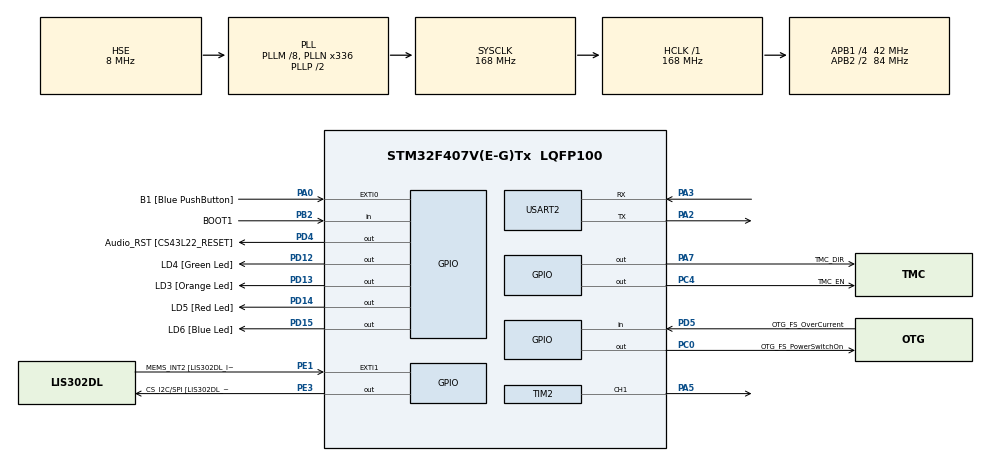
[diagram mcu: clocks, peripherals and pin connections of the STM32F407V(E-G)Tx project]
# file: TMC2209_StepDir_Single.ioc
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Mcu.Family=STM32F4
Mcu.Name=STM32F407V(E-G)Tx
Mcu.Package=LQFP100
NVIC.PriorityGroup=NVIC_PRIORITYGROUP_0
NVIC.TIM2_IRQn=true\:0\:0\:false\:false\:true\:true\:true\:true
NVIC.USART2_IRQn=true\:0\:0\:false\:false\:true\:true\:true\:true
PA0-WKUP.GPIO_Label=B1 [Blue PushButton]
PA0-WKUP.GPIO_ModeDefaultEXTI=GPIO_MODE_EVT_RISING
PA0-WKUP.GPIO_PuPd=GPIO_NOPULL
PA0-WKUP.Signal=GPXTI0
PA13.GPIO_Label=SWDIO
PA13.Mode=Serial_Wire
PA13.Signal=SYS_JTMS-SWDIO
PA14.GPIO_Label=SWCLK
PA14.Mode=Serial_Wire
PA14.Signal=SYS_JTCK-SWCLK
PA2.Mode=Asynchronous
PA2.Signal=USART2_TX
PA3.Mode=Asynchronous
PA3.Signal=USART2_RX
PA5.Signal=S_TIM2_CH1_ETR
PA7.GPIO_Label=TMC_DIR
PA7.Signal=GPIO_Output
PB10.Signal=S_TIM2_CH3
PB11.Signal=S_TIM2_CH4
PB2.GPIO_Label=BOOT1
PB2.GPIO_Mode=GPIO_MODE_INPUT
PB2.GPIO_PuPd=GPIO_NOPULL
PB2.Signal=GPIO_Input
PB3.Signal=S_TIM2_CH2
PC0.GPIO_Label=OTG_FS_PowerSwitchOn
PC0.GPIO_PuPd=GPIO_NOPULL
PC0.GPIO_Speed=GPIO_SPEED_FREQ_LOW
PC0.PinState=GPIO_PIN_SET
PC0.Signal=GPIO_Output
PC4.GPIO_Label=TMC_EN
PC4.Signal=GPIO_Output
PD12.GPIO_Label=LD4 [Green Led]
PD12.GPIO_PuPd=GPIO_NOPULL
PD12.GPIO_Speed=GPIO_SPEED_FREQ_LOW
PD12.Signal=GPIO_Output
PD13.GPIO_Label=LD3 [Orange Led]
PD13.GPIO_PuPd=GPIO_NOPULL
PD13.GPIO_Speed=GPIO_SPEED_FREQ_LOW
PD13.Signal=GPIO_Output
PD14.GPIO_Label=LD5 [Red Led]
PD14.GPIO_PuPd=GPIO_NOPULL
PD14.GPIO_Speed=GPIO_SPEED_FREQ_LOW
PD14.Signal=GPIO_Output
PD15.GPIO_Label=LD6 [Blue Led]
PD15.GPIO_PuPd=GPIO_NOPULL
PD15.GPIO_Speed=GPIO_SPEED_FREQ_LOW
PD15.Signal=GPIO_Output
PD4.GPIO_Label=Audio_RST [CS43L22_RESET]
PD4.GPIO_PuPd=GPIO_NOPULL
PD4.GPIO_Speed=GPIO_SPEED_FREQ_LOW
PD4.Signal=GPIO_Output
PD5.GPIO_Label=OTG_FS_OverCurrent
PD5.GPIO_Mode=GPIO_MODE_INPUT
PD5.GPIO_PuPd=GPIO_NOPULL
PD5.Signal=GPIO_Input
PE1.GPIO_Label=MEMS_INT2 [LIS302DL_INT2]
PE1.GPIO_ModeDefaultEXTI=GPIO_MODE_EVT_RISING
PE1.GPIO_PuPd=GPIO_NOPULL
PE1.Signal=GPXTI1
PE3.GPIO_Label=CS_I2C/SPI [LIS302DL_CS_I2C/SPI]
PE3.GPIO_PuPd=GPIO_NOPULL
PE3.GPIO_Speed=GPIO_SPEED_FREQ_LOW
PE3.Signal=GPIO_Output
PH0-OSC_IN.GPIO_Label=PH0-OSC_IN
PH0-OSC_IN.Mode=HSE-External-Oscillator
PH0-OSC_IN.Signal=RCC_OSC_IN
PH1-OSC_OUT.GPIO_Label=PH1-OSC_OUT
PH1-OSC_OUT.Mode=HSE-External-Oscillator
PH1-OSC_OUT.Signal=RCC_OSC_OUT
ProjectManager.HeapSize=0x200
ProjectManager.StackSize=0x400
ProjectManager.TargetToolchain=STM32CubeIDE
RCC.48MHZClocksFreq_Value=48000000
RCC.AHBFreq_Value=168000000
RCC.APB1CLKDivider=RCC_HCLK_DIV4
RCC.APB1Freq_Value=42000000
RCC.APB1TimFreq_Value=84000000
RCC.APB2CLKDivider=RCC_HCLK_DIV2
RCC.APB2Freq_Value=84000000
RCC.APB2TimFreq_Value=168000000
RCC.CortexFreq_Value=168000000
RCC.HCLKFreq_Value=168000000
RCC.HSE_VALUE=8000000
RCC.HSI_VALUE=16000000
RCC.LSE_VALUE=32768
RCC.PLLM=8
RCC.PLLN=336
RCC.PLLQ=7
RCC.PLLSourceVirtual=RCC_PLLSOURCE_HSE
RCC.SYSCLKFreq_VALUE=168000000
RCC.SYSCLKSource=RCC_SYSCLKSOURCE_PLLCLK
RCC.VCOOutputFreq_Value=336000000
SH.S_TIM2_CH1_ETR.0=TIM2_CH1,Output Compare1 CH1
SH.S_TIM2_CH2.0=TIM2_CH2
SH.S_TIM2_CH3.0=TIM2_CH3
SH.S_TIM2_CH4.0=TIM2_CH4
TIM2.Channel-Output\ Compare1\ CH1=TIM_CHANNEL_1
TIM2.OCMode_1=TIM_OCMODE_TOGGLE
USART2.VirtualMode=VM_ASYNC
board=STM32F407G-DISC1

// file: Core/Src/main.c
/* USER CODE BEGIN Header */
/**
  ******************************************************************************
  * @file           : main.c
  * @brief          : Main program body
  ******************************************************************************
  * @attention
  *
  * Copyright (c) 2025 STMicroelectronics.
  * All rights reserved.
  *
  * This software is licensed under terms that can be found in the LICENSE file
  * in the root directory of this software component.
  * If no LICENSE file comes with this software, it is provided AS-IS.
  *
  ******************************************************************************
  */
/* USER CODE END Header */
#include "main.h"

/* USER CODE BEGIN Includes */
#include "tmc2209.h"

/* USER CODE END Includes */

TIM_HandleTypeDef htim2;

UART_HandleTypeDef huart2;

/* USER CODE BEGIN PV */
TMC2209_HandleTypeDef htmc1 = {0};

/* USER CODE END PV */

void SystemClock_Config(void);
static void MX_GPIO_Init(void);
static void MX_TIM2_Init(void);
static void MX_USART2_UART_Init(void);
/* USER CODE BEGIN PFP */
static void APP_TMC2209_Init(void);

/* USER CODE END PFP */

int main(void)
{

  /* MCU Configuration--------------------------------------------------------*/

  /* Reset of all peripherals, Initializes the Flash interface and the Systick. */
  HAL_Init();

  /* Configure the system clock */
  SystemClock_Config();

  /* Initialize all configured peripherals */
  MX_GPIO_Init();
  MX_TIM2_Init();
  MX_USART2_UART_Init();
  /* USER CODE BEGIN 2 */
  /* Initialize the TMC2209 driver and internal structures */
  APP_TMC2209_Init();

  /* Enable the driver and set the target angular velocity to π/2 rad/s */
  TMC2209_Enable(&htmc1);
  TMC2209_SetAngVel(&htmc1, M_PI_2);

  /* Rotate to π radians (180°) counterclockwise */
  TMC2209_MoveToNormalized(&htmc1, M_PI, DIR_CCW);
  while(htmc1.State == TMC2209_BUSY); // Wait until movement is complete
  HAL_Delay(1000);

  /* Rotate to π/4 radians (45°) following the shortest path */
  TMC2209_MoveToNormalized(&htmc1, M_PI_4, DIR_SHORTEST);
  while(htmc1.State == TMC2209_BUSY); // Wait until movement is complete
  HAL_Delay(1000);

  /* Rotate two full turns clockwise (-2 * 360°) */
  TMC2209_MoveAngle(&htmc1, -M_TWOPI*2);
  while(htmc1.State == TMC2209_BUSY); // Wait until movement is complete
  HAL_Delay(1000);

  /* Move back to 0 radians (0°) following the shortest path */
  TMC2209_MoveToNormalized(&htmc1, 0.0f, DIR_SHORTEST);
  while(htmc1.State == TMC2209_BUSY); // Wait until movement is complete
  HAL_Delay(1000);

  /* Disable the driver */
  TMC2209_Disable(&htmc1);

  /* USER CODE END 2 */

  /* Infinite loop */
  while (1)
  {

  }
}

void SystemClock_Config(void)
{
  RCC_OscInitTypeDef RCC_OscInitStruct = {0};
  RCC_ClkInitTypeDef RCC_ClkInitStruct = {0};

  /** Configure the main internal regulator output voltage
  */
  __HAL_RCC_PWR_CLK_ENABLE();
  __HAL_PWR_VOLTAGESCALING_CONFIG(PWR_REGULATOR_VOLTAGE_SCALE1);

  /** Initializes the RCC Oscillators according to the specified parameters
  * in the RCC_OscInitTypeDef structure.
  */
  RCC_OscInitStruct.OscillatorType = RCC_OSCILLATORTYPE_HSE;
  RCC_OscInitStruct.HSEState = RCC_HSE_ON;
  RCC_OscInitStruct.PLL.PLLState = RCC_PLL_ON;
  RCC_OscInitStruct.PLL.PLLSource = RCC_PLLSOURCE_HSE;
  RCC_OscInitStruct.PLL.PLLM = 8;
  RCC_OscInitStruct.PLL.PLLN = 336;
  RCC_OscInitStruct.PLL.PLLP = RCC_PLLP_DIV2;
  RCC_OscInitStruct.PLL.PLLQ = 7;
  if (HAL_RCC_OscConfig(&RCC_OscInitStruct) != HAL_OK)
  {
    Error_Handler();
  }

  /** Initializes the CPU, AHB and APB buses clocks
  */
  RCC_ClkInitStruct.ClockType = RCC_CLOCKTYPE_HCLK|RCC_CLOCKTYPE_SYSCLK
                              |RCC_CLOCKTYPE_PCLK1|RCC_CLOCKTYPE_PCLK2;
  RCC_ClkInitStruct.SYSCLKSource = RCC_SYSCLKSOURCE_PLLCLK;
  RCC_ClkInitStruct.AHBCLKDivider = RCC_SYSCLK_DIV1;
  RCC_ClkInitStruct.APB1CLKDivider = RCC_HCLK_DIV4;
  RCC_ClkInitStruct.APB2CLKDivider = RCC_HCLK_DIV2;

  if (HAL_RCC_ClockConfig(&RCC_ClkInitStruct, FLASH_LATENCY_5) != HAL_OK)
  {
    Error_Handler();
  }
}

static void MX_TIM2_Init(void)
{

  TIM_MasterConfigTypeDef sMasterConfig = {0};
  TIM_OC_InitTypeDef sConfigOC = {0};

  htim2.Instance = TIM2;
  htim2.Init.Prescaler = 0;
  htim2.Init.CounterMode = TIM_COUNTERMODE_UP;
  htim2.Init.Period = 4294967295;
  htim2.Init.ClockDivision = TIM_CLOCKDIVISION_DIV1;
  htim2.Init.AutoReloadPreload = TIM_AUTORELOAD_PRELOAD_DISABLE;
  if (HAL_TIM_OC_Init(&htim2) != HAL_OK)
  {
    Error_Handler();
  }
  sMasterConfig.MasterOutputTrigger = TIM_TRGO_RESET;
  sMasterConfig.MasterSlaveMode = TIM_MASTERSLAVEMODE_DISABLE;
  if (HAL_TIMEx_MasterConfigSynchronization(&htim2, &sMasterConfig) != HAL_OK)
  {
    Error_Handler();
  }
  sConfigOC.OCMode = TIM_OCMODE_TOGGLE;
  sConfigOC.Pulse = 0;
  sConfigOC.OCPolarity = TIM_OCPOLARITY_HIGH;
  sConfigOC.OCFastMode = TIM_OCFAST_DISABLE;
  if (HAL_TIM_OC_ConfigChannel(&htim2, &sConfigOC, TIM_CHANNEL_1) != HAL_OK)
  {
    Error_Handler();
  }
  HAL_TIM_MspPostInit(&htim2);

}

static void MX_USART2_UART_Init(void)
{

  huart2.Instance = USART2;
  huart2.Init.BaudRate = 115200;
  huart2.Init.WordLength = UART_WORDLENGTH_8B;
  huart2.Init.StopBits = UART_STOPBITS_1;
  huart2.Init.Parity = UART_PARITY_NONE;
  huart2.Init.Mode = UART_MODE_TX_RX;
  huart2.Init.HwFlowCtl = UART_HWCONTROL_NONE;
  huart2.Init.OverSampling = UART_OVERSAMPLING_16;
  if (HAL_UART_Init(&huart2) != HAL_OK)
  {
    Error_Handler();
  }

}

static void MX_GPIO_Init(void)
{
  GPIO_InitTypeDef GPIO_InitStruct = {0};

  /* GPIO Ports Clock Enable */
  __HAL_RCC_GPIOE_CLK_ENABLE();
  __HAL_RCC_GPIOH_CLK_ENABLE();
  __HAL_RCC_GPIOC_CLK_ENABLE();
  __HAL_RCC_GPIOA_CLK_ENABLE();
  __HAL_RCC_GPIOB_CLK_ENABLE();
  __HAL_RCC_GPIOD_CLK_ENABLE();

  /*Configure GPIO pin Output Level */
  HAL_GPIO_WritePin(CS_I2C_SPI_GPIO_Port, CS_I2C_SPI_Pin, GPIO_PIN_RESET);

  /*Configure GPIO pin Output Level */
  HAL_GPIO_WritePin(OTG_FS_PowerSwitchOn_GPIO_Port, OTG_FS_PowerSwitchOn_Pin, GPIO_PIN_SET);

  /*Configure GPIO pin Output Level */
  HAL_GPIO_WritePin(TMC_DIR_GPIO_Port, TMC_DIR_Pin, GPIO_PIN_RESET);

  /*Configure GPIO pin Output Level */
  HAL_GPIO_WritePin(TMC_EN_GPIO_Port, TMC_EN_Pin, GPIO_PIN_RESET);

  /*Configure GPIO pin Output Level */
  HAL_GPIO_WritePin(GPIOD, LD4_Pin|LD3_Pin|LD5_Pin|LD6_Pin
                          |Audio_RST_Pin, GPIO_PIN_RESET);

  /*Configure GPIO pin : CS_I2C_SPI_Pin */
  GPIO_InitStruct.Pin = CS_I2C_SPI_Pin;
  GPIO_InitStruct.Mode = GPIO_MODE_OUTPUT_PP;
  GPIO_InitStruct.Pull = GPIO_NOPULL;
  GPIO_InitStruct.Speed = GPIO_SPEED_FREQ_LOW;
  HAL_GPIO_Init(CS_I2C_SPI_GPIO_Port, &GPIO_InitStruct);

  /*Configure GPIO pins : OTG_FS_PowerSwitchOn_Pin TMC_EN_Pin */
  GPIO_InitStruct.Pin = OTG_FS_PowerSwitchOn_Pin|TMC_EN_Pin;
  GPIO_InitStruct.Mode = GPIO_MODE_OUTPUT_PP;
  GPIO_InitStruct.Pull = GPIO_NOPULL;
  GPIO_InitStruct.Speed = GPIO_SPEED_FREQ_LOW;
  HAL_GPIO_Init(GPIOC, &GPIO_InitStruct);

  /*Configure GPIO pin : B1_Pin */
  GPIO_InitStruct.Pin = B1_Pin;
  GPIO_InitStruct.Mode = GPIO_MODE_EVT_RISING;
  GPIO_InitStruct.Pull = GPIO_NOPULL;
  HAL_GPIO_Init(B1_GPIO_Port, &GPIO_InitStruct);

  /*Configure GPIO pin : TMC_DIR_Pin */
  GPIO_InitStruct.Pin = TMC_DIR_Pin;
  GPIO_InitStruct.Mode = GPIO_MODE_OUTPUT_PP;
  GPIO_InitStruct.Pull = GPIO_NOPULL;
  GPIO_InitStruct.Speed = GPIO_SPEED_FREQ_LOW;
  HAL_GPIO_Init(TMC_DIR_GPIO_Port, &GPIO_InitStruct);

  /*Configure GPIO pin : BOOT1_Pin */
  GPIO_InitStruct.Pin = BOOT1_Pin;
  GPIO_InitStruct.Mode = GPIO_MODE_INPUT;
  GPIO_InitStruct.Pull = GPIO_NOPULL;
  HAL_GPIO_Init(BOOT1_GPIO_Port, &GPIO_InitStruct);

  /*Configure GPIO pins : LD4_Pin LD3_Pin LD5_Pin LD6_Pin
                           Audio_RST_Pin */
  GPIO_InitStruct.Pin = LD4_Pin|LD3_Pin|LD5_Pin|LD6_Pin
                          |Audio_RST_Pin;
  GPIO_InitStruct.Mode = GPIO_MODE_OUTPUT_PP;
  GPIO_InitStruct.Pull = GPIO_NOPULL;
  GPIO_InitStruct.Speed = GPIO_SPEED_FREQ_LOW;
  HAL_GPIO_Init(GPIOD, &GPIO_InitStruct);

  /*Configure GPIO pin : OTG_FS_OverCurrent_Pin */
  GPIO_InitStruct.Pin = OTG_FS_OverCurrent_Pin;
  GPIO_InitStruct.Mode = GPIO_MODE_INPUT;
  GPIO_InitStruct.Pull = GPIO_NOPULL;
  HAL_GPIO_Init(OTG_FS_OverCurrent_GPIO_Port, &GPIO_InitStruct);

  /*Configure GPIO pin : MEMS_INT2_Pin */
  GPIO_InitStruct.Pin = MEMS_INT2_Pin;
  GPIO_InitStruct.Mode = GPIO_MODE_EVT_RISING;
  GPIO_InitStruct.Pull = GPIO_NOPULL;
  HAL_GPIO_Init(MEMS_INT2_GPIO_Port, &GPIO_InitStruct);

}

/* USER CODE BEGIN 4 */

/**
 * @brief Initializes the TMC2209 driver and configures the connected stepper motor.
 */
static void APP_TMC2209_Init(void){
	/* Motor configuration */
	Motor_ParamsTypeDef nema17 = {
			.MaxRPM = 800,
			.StepAngle = 1.8,
			.ReductionRatio = 26
	};
	htmc1.Motor = nema17;

	/* Init configuration */
	TMC2209_InitTypeDef init = {
			.Address = TMC2209_ADDRESS_0,
			.Microsteps = 8
	};
	htmc1.Init = init;

	/* Pin configuration */
	htmc1.EnPort = TMC_EN_GPIO_Port;
	htmc1.EnPin = TMC_EN_Pin;
	htmc1.DirPort = TMC_DIR_GPIO_Port;
	htmc1.DirPin = TMC_DIR_Pin;

	if(TMC2209_Init(&htmc1, &htim2, TIM_CHANNEL_1, 200) != TMC2209_OK){
		Error_Handler();
	}

}

/* USER CODE END 4 */

void Error_Handler(void)
{
  __disable_irq();
  while (1)
  {
  }
}
